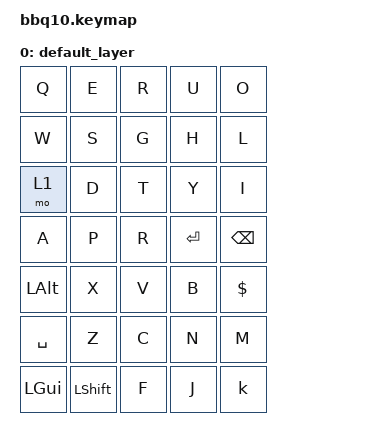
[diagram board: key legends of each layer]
#include <behaviors.dtsi>
#include <dt-bindings/zmk/keys.h>

/ {
    keymap {
        compatible = "zmk,keymap";
        default_layer {
            bindings = <
                /* ROW1 */
                &kp Q     &kp E     &kp R     &kp U     &kp O
                /* ROW2 */
                &kp W     &kp S     &kp G     &kp H     &kp L
                /* ROW3 */
                &mo 1     &kp D     &kp T     &kp Y     &kp I
                /* ROW4 */
                &kp A     &kp P     &kp R     &kp ENTER &kp BSPC
                /* ROW5 */
                &kp LALT  &kp X     &kp V     &kp B     &kp DOLLAR
                /* ROW6 */
                &kp SPACE &kp Z     &kp C     &kp N     &kp M
                /* ROW7 */
                &kp LGUI  &kp LSHFT &kp F     &kp J     &kp k
            >;
        };
    };
};
